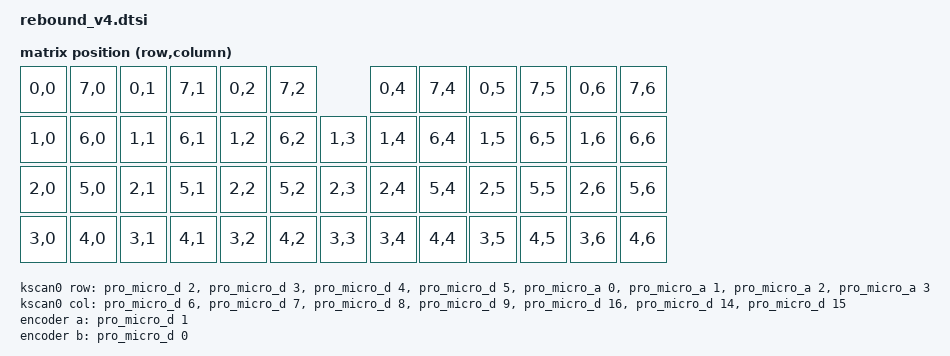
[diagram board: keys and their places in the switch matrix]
/*
 * Copyright (c) 2020 The ZMK Contributors
 *
 * SPDX-License-Identifier: MIT
 */

#include <dt-bindings/zmk/matrix_transform.h>

/ {
    chosen {
        zmk,kscan = &kscan0;
        zmk,matrix_transform = &default_transform;
    };

    default_transform: keymap_transform_0 {
        compatible = "zmk,matrix-transform";
        columns = <7>;
        rows = <8>;

        map = <
RC(0,0) RC(7,0) RC(0,1) RC(7,1) RC(0,2) RC(7,2)         RC(0,4) RC(7,4) RC(0,5) RC(7,5) RC(0,6) RC(7,6)
RC(1,0) RC(6,0) RC(1,1) RC(6,1) RC(1,2) RC(6,2) RC(1,3) RC(1,4) RC(6,4) RC(1,5) RC(6,5) RC(1,6) RC(6,6)
RC(2,0) RC(5,0) RC(2,1) RC(5,1) RC(2,2) RC(5,2) RC(2,3) RC(2,4) RC(5,4) RC(2,5) RC(5,5) RC(2,6) RC(5,6)
RC(3,0) RC(4,0) RC(3,1) RC(4,1) RC(3,2) RC(4,2) RC(3,3) RC(3,4) RC(4,4) RC(3,5) RC(4,5) RC(3,6) RC(4,6)
        >;
    };

    kscan0: kscan_0 {
        compatible = "zmk,kscan-gpio-matrix";
        label = "KSCAN";
        diode-direction = "row2col";

        col-gpios
            = <&pro_micro_d 6 (GPIO_ACTIVE_HIGH | GPIO_PULL_DOWN)>
            , <&pro_micro_d 7 (GPIO_ACTIVE_HIGH | GPIO_PULL_DOWN)>
            , <&pro_micro_d 8 (GPIO_ACTIVE_HIGH | GPIO_PULL_DOWN)>
            , <&pro_micro_d 9 (GPIO_ACTIVE_HIGH | GPIO_PULL_DOWN)>
            , <&pro_micro_d 16 (GPIO_ACTIVE_HIGH | GPIO_PULL_DOWN)>
            , <&pro_micro_d 14 (GPIO_ACTIVE_HIGH | GPIO_PULL_DOWN)>
	      , <&pro_micro_d 15 (GPIO_ACTIVE_HIGH | GPIO_PULL_DOWN)>
            ;

        row-gpios
            = <&pro_micro_d 2 GPIO_ACTIVE_HIGH>
            , <&pro_micro_d 3 GPIO_ACTIVE_HIGH>
            , <&pro_micro_d 4 GPIO_ACTIVE_HIGH>
            , <&pro_micro_d 5 GPIO_ACTIVE_HIGH>
            , <&pro_micro_a 0 GPIO_ACTIVE_HIGH>
            , <&pro_micro_a 1 GPIO_ACTIVE_HIGH>
            , <&pro_micro_a 2 GPIO_ACTIVE_HIGH>
            , <&pro_micro_a 3 GPIO_ACTIVE_HIGH>
            ;
    };

    encoder: encoder {
        compatible = "alps,ec11";
        label = "ENCODER";
        a-gpios = <&pro_micro_d 1 (GPIO_ACTIVE_HIGH | GPIO_PULL_UP)>;
        b-gpios = <&pro_micro_d 0 (GPIO_ACTIVE_HIGH | GPIO_PULL_UP)>;
        resolution = <2>;
        status = "okay";
    };

    sensors {
        compatible = "zmk,keymap-sensors";
        sensors = <&encoder>;
    };
};
